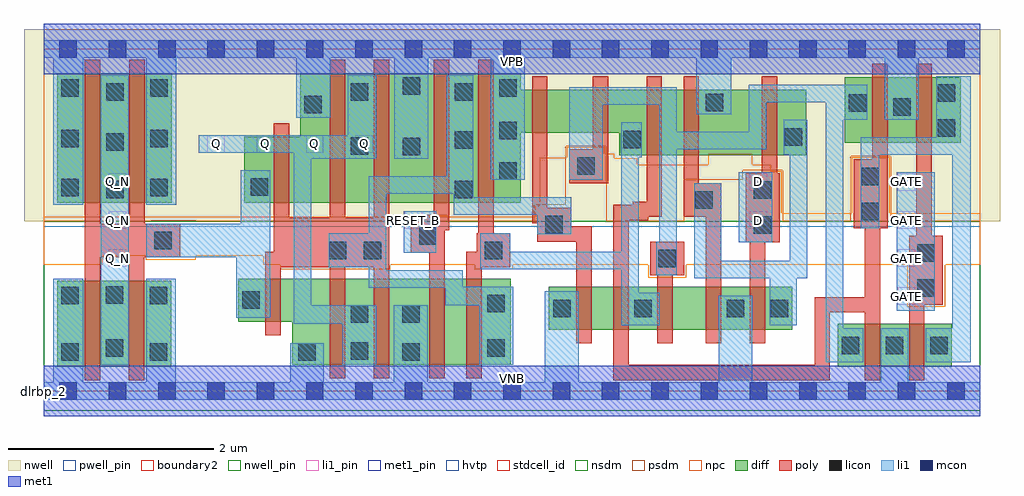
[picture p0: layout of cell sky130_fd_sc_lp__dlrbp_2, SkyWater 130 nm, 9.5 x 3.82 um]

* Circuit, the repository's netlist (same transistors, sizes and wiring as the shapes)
* Copyright 2020 The SkyWater PDK Authors
*
* Licensed under the Apache License, Version 2.0 (the "License");
* you may not use this file except in compliance with the License.
* You may obtain a copy of the License at
*
*     https://www.apache.org/licenses/LICENSE-2.0
*
* Unless required by applicable law or agreed to in writing, software
* distributed under the License is distributed on an "AS IS" BASIS,
* WITHOUT WARRANTIES OR CONDITIONS OF ANY KIND, either express or implied.
* See the License for the specific language governing permissions and
* limitations under the License.
*
* SPDX-License-Identifier: Apache-2.0

.SUBCKT sky130_fd_sc_lp__dlrbp_2 D GATE RESET_B VGND VNB VPB VPWR Q Q_N
*.PININFO D:I GATE:I RESET_B:I VGND:I VNB:I VPB:I VPWR:I Q:O Q_N:O
MI635 clkpos clkneg VPWR VPB sky130_fd_pr__pfet_01v8_hvt m=1 w=0.64U l=0.15U mult=1
+ sa=0.265 sb=0.265 sd=0.28 area=0.063 perim=1.14
MI648 Q_N net79 VPWR VPB sky130_fd_pr__pfet_01v8_hvt m=2 w=1.26U l=0.15U mult=1
+ sa=0.265 sb=0.265 sd=0.28 area=0.063 perim=1.14
MI17 M0 clkneg net51 VPB sky130_fd_pr__pfet_01v8_hvt m=1 w=0.64U l=0.15U mult=1
+ sa=0.265 sb=0.265 sd=0.28 area=0.063 perim=1.14
MI646 net79 m1 VPWR VPB sky130_fd_pr__pfet_01v8_hvt m=1 w=0.64U l=0.15U mult=1
+ sa=0.265 sb=0.265 sd=0.28 area=0.063 perim=1.14
MI650 Q m1 VPWR VPB sky130_fd_pr__pfet_01v8_hvt m=2 w=1.26U l=0.15U mult=1 sa=0.265
+ sb=0.265 sd=0.28 area=0.063 perim=1.14
MI633 clkneg GATE VPWR VPB sky130_fd_pr__pfet_01v8_hvt m=1 w=0.64U l=0.15U mult=1
+ sa=0.265 sb=0.265 sd=0.28 area=0.063 perim=1.14
MI658 m1 RESET_B VPWR VPB sky130_fd_pr__pfet_01v8_hvt m=1 w=1.26U l=0.15U mult=1
+ sa=0.265 sb=0.265 sd=0.28 area=0.063 perim=1.14
MI18 net51 db VPWR VPB sky130_fd_pr__pfet_01v8_hvt m=1 w=0.64U l=0.15U mult=1 sa=0.265
+ sb=0.265 sd=0.28 area=0.063 perim=1.14
MI653 net59 m1 VPWR VPB sky130_fd_pr__pfet_01v8_hvt m=1 w=0.42U l=0.15U mult=1
+ sa=0.265 sb=0.265 sd=0.28 area=0.063 perim=1.14
MI651 M0 clkpos net59 VPB sky130_fd_pr__pfet_01v8_hvt m=1 w=0.42U l=0.15U mult=1
+ sa=0.265 sb=0.265 sd=0.28 area=0.063 perim=1.14
MI655 m1 M0 VPWR VPB sky130_fd_pr__pfet_01v8_hvt m=1 w=1.26U l=0.15U mult=1 sa=0.265
+ sb=0.265 sd=0.28 area=0.063 perim=1.14
MI638 db D VPWR VPB sky130_fd_pr__pfet_01v8_hvt m=1 w=0.64U l=0.15U mult=1 sa=0.265
+ sb=0.265 sd=0.28 area=0.063 perim=1.14
MI634 clkneg GATE VGND VNB sky130_fd_pr__nfet_01v8 m=1 w=0.42U l=0.15U mult=1 sa=0.265
+ sb=0.265 sd=0.28 area=0.063 perim=1.14
MI647 Q_N net79 VGND VNB sky130_fd_pr__nfet_01v8 m=2 w=0.84U l=0.15U mult=1 sa=0.265
+ sb=0.265 sd=0.28 area=0.063 perim=1.14
MI649 Q m1 VGND VNB sky130_fd_pr__nfet_01v8 m=2 w=0.84U l=0.15U mult=1 sa=0.265
+ sb=0.265 sd=0.28 area=0.063 perim=1.14
MI645 net79 m1 VGND VNB sky130_fd_pr__nfet_01v8 m=1 w=0.42U l=0.15U mult=1 sa=0.265
+ sb=0.265 sd=0.28 area=0.063 perim=1.14
MI657 net86 RESET_B VGND VNB sky130_fd_pr__nfet_01v8 m=1 w=0.84U l=0.15U mult=1
+ sa=0.265 sb=0.265 sd=0.28 area=0.063 perim=1.14
MI652 M0 clkneg net102 VNB sky130_fd_pr__nfet_01v8 m=1 w=0.42U l=0.15U mult=1 sa=0.265
+ sb=0.265 sd=0.28 area=0.063 perim=1.14
MI654 net102 m1 VGND VNB sky130_fd_pr__nfet_01v8 m=1 w=0.42U l=0.15U mult=1 sa=0.265
+ sb=0.265 sd=0.28 area=0.063 perim=1.14
MI656 m1 M0 net86 VNB sky130_fd_pr__nfet_01v8 m=1 w=0.84U l=0.15U mult=1 sa=0.265
+ sb=0.265 sd=0.28 area=0.063 perim=1.14
MI636 clkpos clkneg VGND VNB sky130_fd_pr__nfet_01v8 m=1 w=0.42U l=0.15U mult=1
+ sa=0.265 sb=0.265 sd=0.28 area=0.063 perim=1.14
MI637 db D VGND VNB sky130_fd_pr__nfet_01v8 m=1 w=0.42U l=0.15U mult=1 sa=0.265
+ sb=0.265 sd=0.28 area=0.063 perim=1.14
MI19 M0 clkpos net98 VNB sky130_fd_pr__nfet_01v8 m=1 w=0.42U l=0.15U mult=1 sa=0.265
+ sb=0.265 sd=0.28 area=0.063 perim=1.14
MI20 net98 db VGND VNB sky130_fd_pr__nfet_01v8 m=1 w=0.42U l=0.15U mult=1 sa=0.265
+ sb=0.265 sd=0.28 area=0.063 perim=1.14
.ENDS sky130_fd_sc_lp__dlrbp_2

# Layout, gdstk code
import gdstk
lib = gdstk.Library(unit=1e-6, precision=1e-09)
def R(c, l, rs):  # rectangles x0, y0, x1, y1
    for r in rs: c.add(gdstk.rectangle(r[:2], r[2:], *l))
def A(c, l, x, y, w, h, nx, ny, dx, dy):  # array of equal rectangles
    R(c, l, [(x+i*dx, y+j*dy, x+i*dx+w, y+j*dy+h) for i in range(nx) for j in range(ny)])
def P(c, l, *ps):  # polygons
    for p in ps: c.add(gdstk.Polygon(p, *l))
nwell_pin = (64, 16)
nwell = (64, 20)
diff = (65, 20)
poly = (66, 20)
licon = (66, 44)
li1_pin = (67, 16)
li1 = (67, 20)
mcon = (67, 44)
met1_pin = (68, 16)
met1 = (68, 20)
hvtp = (78, 44)
stdcell_id = (81, 4)
nsdm = (93, 44)
psdm = (94, 20)
npc = (95, 20)
pwell_pin = (122, 16)
boundary2 = (236, 0)

sky130_fd_sc_lp__dlrbp_2 = lib.new_cell('sky130_fd_sc_lp__dlrbp_2')
R(sky130_fd_sc_lp__dlrbp_2, nwell_pin, [(0,3.085,9.12,3.33)])
R(sky130_fd_sc_lp__dlrbp_2, nwell, [(-0.19,1.655,9.31,3.52)])
R(sky130_fd_sc_lp__dlrbp_2, diff, [(0.135,0.235,1.245,1.075), (7.73,0.235,8.84,0.655), (4.92,0.595,7.29,1.015), (0.135,1.835,1.25,3.095), (7.8,2.415,8.93,3.055)])
P(sky130_fd_sc_lp__dlrbp_2, diff, [(4.55,1.095),(1.895,1.095),(1.895,0.675),(2.42,0.675),(2.42,0.255),(4.55,0.255)],
  [(7.425,2.935),(4.645,2.935),(4.645,3.095),(2.5,3.095),(2.5,2.475),(1.955,2.475),(1.955,1.835),(4.645,1.835),(4.645,2.515),(5.605,2.515),(5.605,2.295),(7.425,2.295)])
P(sky130_fd_sc_lp__dlrbp_2, poly, [(1.33,1.63),(0.985,1.63),(0.985,3.225),(0.835,3.225),(0.835,1.63),(0.55,1.63),(0.55,3.225),(0.4,3.225),(0.4,0.105),(0.55,0.105),(0.55,1.3),(0.83,1.3),(0.83,0.105),(0.98,0.105),(0.98,1.3),(1.33,1.3)],
  [(3.365,3.225),(3.215,3.225),(3.215,1.685),(2.935,1.685),(2.935,3.225),(2.785,3.225),(2.785,1.685),(2.39,1.685),(2.39,2.605),(2.24,2.605),(2.24,1.355),(2.16,1.355),(2.16,0.545),(2.31,0.545),(2.31,1.205),(2.785,1.205),(2.785,0.125),(2.935,0.125),(2.935,1.205),(3.215,1.205),(3.215,0.125),(3.365,0.125)],
  [(3.95,3.225),(3.8,3.225),(3.8,1.715),(3.575,1.715),(3.575,1.345),(3.755,1.345),(3.755,0.125),(3.905,0.125),(3.905,1.565),(3.95,1.565)],
  [(4.545,1.535),(4.38,1.535),(4.38,3.225),(4.23,3.225),(4.23,1.535),(4.215,1.535),(4.215,1.355),(4.115,1.355),(4.115,0.125),(4.265,0.125),(4.265,1.205),(4.545,1.205)],
  [(5.335,1.605),(5.135,1.605),(5.135,1.785),(4.905,1.785),(4.905,3.065),(4.755,3.065),(4.755,1.635),(4.805,1.635),(4.805,1.455),(5.185,1.455),(5.185,0.465),(5.335,0.465)],
  [(5.495,3.065),(5.345,3.065),(5.345,2.355),(5.115,2.355),(5.115,2.025),(5.495,2.025)],
  [(6.235,1.455),(5.905,1.455),(5.905,1.125),(5.975,1.125),(5.975,0.465),(6.125,0.465),(6.125,1.125),(6.235,1.125)],
  [(6.595,2.025),(6.38,2.025),(6.38,3.065),(6.23,3.065),(6.23,1.695),(6.445,1.695),(6.445,0.465),(6.595,0.465)],
  [(7.165,2.12),(7.14,2.12),(7.14,3.065),(6.99,3.065),(6.99,2.12),(6.835,2.12),(6.835,1.45),(6.875,1.45),(6.875,0.465),(7.025,0.465),(7.025,1.45),(7.165,1.45)],
  [(8.215,3.185),(8.065,3.185),(8.065,2.255),(7.885,2.255),(7.885,1.585),(7.995,1.585),(7.995,0.915),(7.505,0.915),(7.505,0.255),(5.695,0.255),(5.695,1.665),(5.885,1.665),(5.885,1.695),(6.02,1.695),(6.02,3.065),(5.87,3.065),(5.87,1.845),(5.735,1.845),(5.735,1.815),(5.545,1.815),(5.545,0.105),(7.655,0.105),(7.655,0.765),(7.995,0.765),(7.995,0.105),(8.145,0.105),(8.145,1.585),(8.215,1.585)],
  [(8.755,1.51),(8.645,1.51),(8.645,3.185),(8.495,3.185),(8.495,1.51),(8.425,1.51),(8.425,0.105),(8.575,0.105),(8.575,0.84),(8.755,0.84)])
A(sky130_fd_sc_lp__dlrbp_2, licon, 7.77, 0.36, 0.17, 0.17, 3, 1, 0.43, 0)
R(sky130_fd_sc_lp__dlrbp_2, licon, [(0.175,0.295,0.345,0.465), (1.035,0.295,1.205,0.465), (2.48,0.295,2.65,0.465), (3.49,0.295,3.66,0.465), (2.99,0.305,3.16,0.475), (0.605,0.335,0.775,0.505), (4.32,0.335,4.49,0.505), (2.99,0.665,3.16,0.835), (3.49,0.665,3.66,0.835), (4.96,0.72,5.13,0.89), (5.75,0.72,5.92,0.89), (6.65,0.72,6.82,0.89), (7.08,0.72,7.25,0.89), (4.32,0.765,4.49,0.935), (1.935,0.8,2.105,0.97), (0.175,0.845,0.345,1.015), (1.035,0.845,1.205,1.015), (0.605,0.85,0.775,1.02), (8.505,0.92,8.675,1.09), (5.985,1.205,6.155,1.375), (8.505,1.26,8.675,1.43), (2.775,1.285,2.945,1.455), (3.115,1.285,3.285,1.455), (4.295,1.285,4.465,1.455), (1.08,1.38,1.25,1.55), (3.655,1.425,3.825,1.595), (6.915,1.53,7.085,1.7), (4.885,1.535,5.055,1.705), (7.965,1.665,8.135,1.835), (6.345,1.775,6.515,1.945), (6.915,1.87,7.085,2.04), (0.61,1.875,0.78,2.045), (4.005,1.875,4.175,2.045), (0.175,1.895,0.345,2.065), (1.04,1.895,1.21,2.065), (2.015,1.9,2.185,2.07), (7.965,2.005,8.135,2.175), (4.435,2.055,4.605,2.225), (5.195,2.105,5.365,2.275), (3.495,2.295,3.665,2.465), (2.99,2.3,3.16,2.47), (0.61,2.34,0.78,2.51), (4.005,2.36,4.175,2.53), (5.645,2.365,5.815,2.535), (0.175,2.375,0.345,2.545), (1.04,2.375,1.21,2.545), (7.215,2.39,7.385,2.56), (4.435,2.45,4.605,2.62), (8.705,2.475,8.875,2.645), (8.27,2.68,8.44,2.85), (2.54,2.705,2.71,2.875), (7.84,2.72,8.01,2.89), (6.445,2.725,6.615,2.895), (8.705,2.815,8.875,2.985), (0.61,2.825,0.78,2.995), (2.99,2.825,3.16,2.995), (4.005,2.825,4.175,2.995), (0.175,2.865,0.345,3.035), (1.04,2.865,1.21,3.035), (4.435,2.865,4.605,3.035), (3.495,2.885,3.665,3.055)])
A(sky130_fd_sc_lp__dlrbp_2, li1_pin, 8.315, 0.84, 0.17, 0.17, 1, 4, 0, 0.37)
A(sky130_fd_sc_lp__dlrbp_2, li1_pin, 0.635, 1.21, 0.17, 0.17, 1, 3, 0, 0.37)
A(sky130_fd_sc_lp__dlrbp_2, li1_pin, 1.595, 2.32, 0.17, 0.17, 4, 1, 0.48, 0)
R(sky130_fd_sc_lp__dlrbp_2, li1_pin, [(3.515,1.58,3.685,1.75), (6.875,1.58,7.045,1.75), (6.875,1.95,7.045,2.12)])
R(sky130_fd_sc_lp__dlrbp_2, li1, [(0.555,0.255,0.83,3.075), (8.305,0.78,8.675,2.13), (3.505,1.345,3.825,1.75), (6.765,1.45,7.095,2.13)])
P(sky130_fd_sc_lp__dlrbp_2, li1, [(9.025,3.065),(8.69,3.065),(8.69,2.47),(7.955,2.47),(7.955,1.585),(8.135,1.585),(8.135,2.3),(8.845,2.3),(8.845,0.61),(8.585,0.61),(8.585,0.28),(9.025,0.28)],
  [(8.02,2.98),(6.865,2.98),(6.865,2.525),(6.165,2.525),(6.165,2.955),(5.115,2.955),(5.115,2.055),(5.445,2.055),(5.445,2.785),(5.995,2.785),(5.995,1.455),(5.965,1.455),(5.965,1.125),(6.165,1.125),(6.165,2.355),(7.035,2.355),(7.035,2.81),(7.615,2.81),(7.615,0.28),(7.98,0.28),(7.98,0.61),(7.785,0.61),(7.785,2.64),(8.02,2.64)],
  [(5.135,1.885),(4.185,1.885),(4.185,3.075),(3.925,3.075),(3.925,2.09),(3.165,2.09),(3.165,1.535),(2.775,1.535),(2.775,1.205),(3.165,1.205),(3.165,1.005),(3.91,1.005),(3.91,0.835),(4.24,0.835),(4.24,0.255),(4.57,0.255),(4.57,1.015),(4.08,1.015),(4.08,1.175),(3.335,1.175),(3.335,1.92),(3.995,1.92),(3.995,1.715),(4.805,1.715),(4.805,1.525),(5.135,1.525)],
  [(6,0.955),(5.795,0.955),(5.795,2.275),(5.825,2.275),(5.825,2.615),(5.625,2.615),(5.625,1.355),(4.545,1.355),(4.545,1.535),(4.25,1.535),(4.25,1.185),(5.625,1.185),(5.625,0.64),(6,0.64)],
  [(9.12,0.085),(8.415,0.085),(8.415,0.61),(8.15,0.61),(8.15,0.085),(6.9,0.085),(6.9,0.93),(6.57,0.93),(6.57,0.085),(5.21,0.085),(5.21,0.97),(4.88,0.97),(4.88,0.085),(3.74,0.085),(3.74,0.835),(3.41,0.835),(3.41,0.085),(2.73,0.085),(2.73,0.465),(2.4,0.465),(2.4,0.085),(1.285,0.085),(1.285,1.095),(1,1.095),(1,0.085),(0.385,0.085),(0.385,1.095),(0.095,1.095),(0.095,0.085),(0,0.085),(0,-0.085),(9.12,-0.085)],
  [(3.24,0.835),(2.605,0.835),(2.605,2.26),(3.24,2.26),(3.24,3.075),(2.96,3.075),(2.96,2.49),(1.51,2.49),(1.51,2.32),(2.435,2.32),(2.435,0.655),(2.91,0.655),(2.91,0.255),(3.24,0.255)],
  [(7.435,2.64),(7.205,2.64),(7.205,2.3),(7.265,2.3),(7.265,1.27),(6.595,1.27),(6.595,2.025),(6.335,2.025),(6.335,1.1),(7.07,1.1),(7.07,0.64),(7.33,0.64),(7.33,1.1),(7.435,1.1)],
  [(9.12,3.415),(0,3.415),(0,3.245),(0.095,3.245),(0.095,1.815),(0.385,1.815),(0.385,3.245),(1,3.245),(1,1.815),(1.29,1.815),(1.29,3.245),(2.46,3.245),(2.46,2.66),(2.79,2.66),(2.79,3.245),(3.415,3.245),(3.415,2.26),(3.745,2.26),(3.745,3.245),(4.355,3.245),(4.355,2.055),(4.685,2.055),(4.685,3.245),(6.355,3.245),(6.355,2.695),(6.695,2.695),(6.695,3.245),(8.19,3.245),(8.19,2.64),(8.52,2.64),(8.52,3.245),(9.12,3.245)],
  [(2.205,2.15),(1.92,2.15),(1.92,1.63),(1,1.63),(1,1.3),(1.875,1.3),(1.875,0.715),(2.205,0.715)])
A(sky130_fd_sc_lp__dlrbp_2, mcon, 0.155, -0.085, 0.17, 0.17, 19, 2, 0.48, 3.33)
R(sky130_fd_sc_lp__dlrbp_2, met1_pin, [(0,0,9.12,0.245), (0,3.085,9.12,3.33)])
R(sky130_fd_sc_lp__dlrbp_2, met1, [(0,-0.245,9.12,0.245), (0,3.085,9.12,3.575)])
R(sky130_fd_sc_lp__dlrbp_2, hvtp, [(0,1.6,9.12,3.33)])
R(sky130_fd_sc_lp__dlrbp_2, stdcell_id, [(0,0,9.12,3.33)])
R(sky130_fd_sc_lp__dlrbp_2, nsdm, [(0,-0.19,9.12,1.655)])
P(sky130_fd_sc_lp__dlrbp_2, psdm, [(9.12,3.52),(0,3.52),(0,1.655),(1.04,1.655),(1.04,1.66),(1.49,1.66),(1.49,1.655),(3.545,1.655),(3.545,1.705),(3.935,1.705),(3.935,1.655),(4.775,1.655),(4.775,1.815),(5.085,1.815),(5.085,2.385),(5.475,2.385),(5.475,1.655),(6.235,1.655),(6.235,2.055),(6.805,2.055),(6.805,2.15),(7.195,2.15),(7.195,1.655),(7.855,1.655),(7.855,2.285),(8.245,2.285),(8.245,1.655),(9.12,1.655)])
P(sky130_fd_sc_lp__dlrbp_2, npc, [(9.12,1.73),(8.235,1.73),(8.235,2.275),(7.865,2.275),(7.865,1.73),(7.185,1.73),(7.185,2.14),(7.08,2.14),(7.08,2.205),(6.9,2.205),(6.9,2.31),(6.47,2.31),(6.47,2.205),(5.78,2.205),(5.78,2.265),(5.555,2.265),(5.555,2.31),(5.465,2.31),(5.465,2.375),(5.095,2.375),(5.095,2.27),(4.83,2.27),(4.83,1.805),(4.785,1.805),(4.785,1.695),(0,1.695),(0,1.23),(0.57,1.23),(0.57,1.315),(0.995,1.315),(0.995,1.28),(1.48,1.28),(1.48,1.315),(2.14,1.315),(2.14,1.23),(2.305,1.23),(2.305,1.185),(3.375,1.185),(3.375,1.23),(4.195,1.23),(4.195,1.185),(4.565,1.185),(4.565,1.23),(5.885,1.23),(5.885,1.105),(6.255,1.105),(6.255,1.23),(8.405,1.23),(8.405,0.82),(8.775,0.82),(8.775,1.23),(9.12,1.23)])
R(sky130_fd_sc_lp__dlrbp_2, pwell_pin, [(0,0,9.12,0.245)])
R(sky130_fd_sc_lp__dlrbp_2, boundary2, [(0,0,9.12,3.33)])
sky130_fd_sc_lp__dlrbp_2.add(gdstk.Label('VNB', (4.56,0.123), layer=64, texttype=59))
sky130_fd_sc_lp__dlrbp_2.add(gdstk.Label('VPB', (4.56,3.208), layer=64, texttype=5))
sky130_fd_sc_lp__dlrbp_2.add(gdstk.Label('dlrbp_2', (0,0), layer=83, texttype=44))
sky130_fd_sc_lp__dlrbp_2.add(gdstk.Label('VPWR', (4.56,3.208), layer=68, texttype=5))
sky130_fd_sc_lp__dlrbp_2.add(gdstk.Label('VGND', (4.56,0.123), layer=68, texttype=5))
sky130_fd_sc_lp__dlrbp_2.add(gdstk.Label('Q', (1.68,2.405), layer=67, texttype=5))
sky130_fd_sc_lp__dlrbp_2.add(gdstk.Label('Q', (2.16,2.405), layer=67, texttype=5))
sky130_fd_sc_lp__dlrbp_2.add(gdstk.Label('Q', (2.64,2.405), layer=67, texttype=5))
sky130_fd_sc_lp__dlrbp_2.add(gdstk.Label('Q', (3.12,2.405), layer=67, texttype=5))
sky130_fd_sc_lp__dlrbp_2.add(gdstk.Label('Q_N', (0.72,1.295), layer=67, texttype=5))
sky130_fd_sc_lp__dlrbp_2.add(gdstk.Label('Q_N', (0.72,1.665), layer=67, texttype=5))
sky130_fd_sc_lp__dlrbp_2.add(gdstk.Label('Q_N', (0.72,2.035), layer=67, texttype=5))
sky130_fd_sc_lp__dlrbp_2.add(gdstk.Label('D', (6.96,1.665), layer=67, texttype=5))
sky130_fd_sc_lp__dlrbp_2.add(gdstk.Label('D', (6.96,2.035), layer=67, texttype=5))
sky130_fd_sc_lp__dlrbp_2.add(gdstk.Label('RESET_B', (3.6,1.665), layer=67, texttype=5))
sky130_fd_sc_lp__dlrbp_2.add(gdstk.Label('GATE', (8.4,0.925), layer=67, texttype=5))
sky130_fd_sc_lp__dlrbp_2.add(gdstk.Label('GATE', (8.4,1.295), layer=67, texttype=5))
sky130_fd_sc_lp__dlrbp_2.add(gdstk.Label('GATE', (8.4,1.665), layer=67, texttype=5))
sky130_fd_sc_lp__dlrbp_2.add(gdstk.Label('GATE', (8.4,2.035), layer=67, texttype=5))

lib.write_gds('sky130_fd_sc_lp__dlrbp_2.gds')
